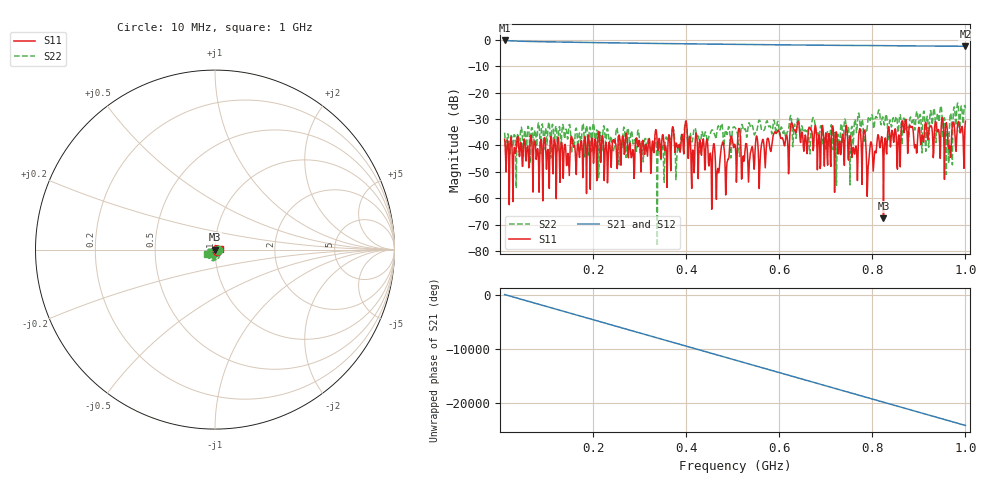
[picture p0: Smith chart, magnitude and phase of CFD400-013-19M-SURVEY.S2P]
!Agilent Technologies,E5071C,MY46106131,A.11.36
!Date: Thu Jul 10 16:56:07 2025
!Data & Calibration Information:
!Freq	S11:SOLT2(ON)	S21:SOLT2(ON)	S12:SOLT2(ON)	S22:SOLT2(ON)
!PortZ  Port1:50+j0  Port2:50+j0
!Above PortZ is port z conversion or system Z0 setting when saving the data.
!When reading, reference impedance value at option line is always used.
# Hz S dB R 50
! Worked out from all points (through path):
!   991 points, 10 MHz to 1 GHz, reference 50 ohm
!   highest |S21| = -0.33 dB at 10 MHz (marker M1); lowest = -2.5 dB at 1 GHz (marker M2)
!   group delay of S21, straight-line fit = 68.4 ns
!   lowest |S11| = -67.5 dB at 824 MHz (marker M3), VSWR 1.00, Z = 50 + j0.0403 ohm
!   |S11| at or under -10 dB: start of sweep to end of sweep
!   |S22| runs from -78.0 to -24.0 dB; largest |S21 - S12| = 0.009
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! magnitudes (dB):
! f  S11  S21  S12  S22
! 10 MHz  -37.6  -0.3  -0.3  -35.2
! 175 MHz  -38.2  -1.1  -1.1  -38.7
! 340 MHz  -41.0  -1.5  -1.5  -41.5
! 381 MHz  -40.6  -1.6  -1.6  -41.7
! 399 MHz  -30.8  -1.6  -1.6  -31.0
! 414 MHz  -41.7  -1.6  -1.6  -37.7
! 433 MHz  -43.7  -1.7  -1.7  -35.8
! 468 MHz  -48.7  -1.7  -1.7  -33.0
! 478 MHz  -38.9  -1.7  -1.7  -33.0
! 487 MHz  -48.3  -1.8  -1.8  -35.6
! 497 MHz  -36.5  -1.8  -1.8  -43.0
! 505 MHz  -39.8  -1.8  -1.8  -33.2
! 670 MHz  -34.7  -2.1  -2.1  -31.3
! 726 MHz  -43.2  -2.2  -2.2  -35.7
! 743 MHz  -33.0  -2.2  -2.2  -31.3
! 783 MHz  -34.2  -2.2  -2.3  -38.3
! 791 MHz  -48.1  -2.3  -2.3  -29.8
! 824 MHz  -67.5  -2.3  -2.3  -30.4
! 835 MHz  -32.9  -2.3  -2.3  -35.5
! 945 MHz  -40.9  -2.5  -2.5  -27.8
! 961 MHz  -33.9  -2.5  -2.5  -34.8
! 1 GHz  -30.8  -2.5  -2.6  -26.0
